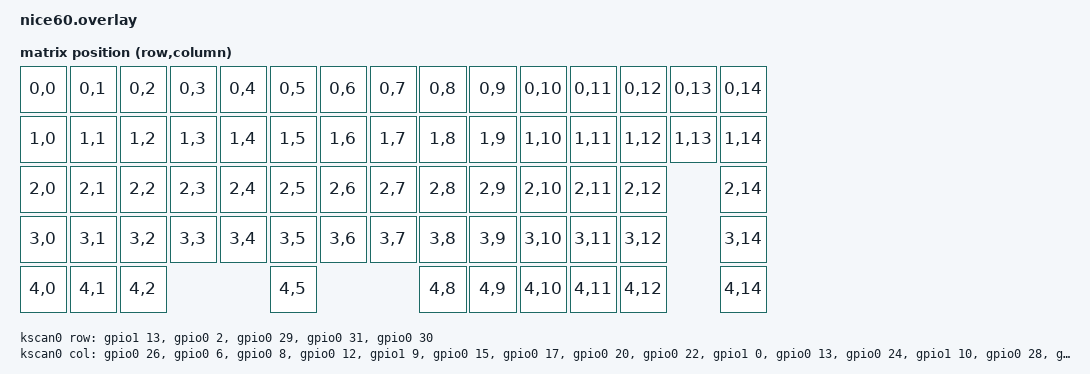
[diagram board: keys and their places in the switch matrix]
/*
 * toutou68 键盘硬件配置文件
 * 文件名: toutou68.overlay (需放置在 zmk-config/config/ 目录下)
 * 功能: 重定义键盘矩阵、RGB灯效、电池检测等硬件配置
 */

#include <dt-bindings/led/led.h>
#include <dt-bindings/gpio/gpio.h>
#include <layouts/common/60percent/ansi.dtsi>   /* 新增，引入60% ANSI布局定义 */
#include <dt-bindings/zmk/matrix_transform.h>   /* 新增，引入矩阵变换定义 */


/ {
    /* 系统选择节点 - 告知ZMK使用哪些硬件驱动 */
    chosen {
        /* 键盘矩阵扫描驱动 */
        zmk,kscan = &kscan0;
        /* RGB底灯驱动 */
        zmk,underglow = &led_strip;
        /* 电池电量检测驱动 */
        zmk,battery = &vbatt;                   /* <--- 电池电量检测 */ 
        zmk,ble-status-led = &led_ble_status;   /* <--- 新增 */
        zmk,physical-layout = &layout_60_ansi;  /* <--- 新增 键盘布局*/
        zephyr,flash = &flash0;                 /* 其他系统资源配置 */
        zmk,usb-name = "toutou!68";             /* USB设备名称 */
    };

/* <--- 新增key location */
 default_transform: keymap_transform_0 {
        compatible = "zmk,matrix-transform";
        columns = <15>;
        rows = <5>;
        map = <
        RC(0,0) RC(0,1) RC(0,2) RC(0,3) RC(0,4) RC(0,5) RC(0,6) RC(0,7) RC(0,8) RC(0,9)  RC(0,10) RC(0,11) RC(0,12) RC(0,13) RC(0,14)    
        RC(1,0) RC(1,1) RC(1,2) RC(1,3) RC(1,4) RC(1,5) RC(1,6) RC(1,7) RC(1,8) RC(1,9)  RC(1,10) RC(1,11) RC(1,12) RC(1,13) RC(1,14)   
        RC(2,0) RC(2,1) RC(2,2) RC(2,3) RC(2,4) RC(2,5) RC(2,6) RC(2,7) RC(2,8) RC(2,9)  RC(2,10) RC(2,11) RC(2,12)          RC(2,14) 
        RC(3,0) RC(3,1) RC(3,2) RC(3,3) RC(3,4) RC(3,5) RC(3,6) RC(3,7) RC(3,8) RC(3,9)  RC(3,10) RC(3,11) RC(3,12)          RC(3,14)
        RC(4,0) RC(4,1) RC(4,2)                 RC(4,5)                 RC(4,8) RC(4,9)  RC(4,10) RC(4,11) RC(4,12)          RC(4,14) 
        >;
    };



    /* 键盘矩阵扫描配置 - 5行 x 15列 矩阵 */
    kscan0: kscan {
        compatible = "zmk,kscan-gpio-matrix";
        label = "toutou68_KEYSCAN";

        wakeup-source;                                          /* wakeup source must be below */

        /* 二极管方向: 行到列 (row2col) 或 列到行 (col2row) 
         * 需根据PCB实际电路确定, 常用 col2row */
        diode-direction = "col2row";
        
        /* 行引脚定义 (5行)
         * 格式: <&gpio端口 引脚号 标志>
         * GPIO_ACTIVE_HIGH: 高电平有效
         * GPIO_PULL_DOWN: 内部下拉电阻
         */
        row-gpios
            = <&gpio1 13 (GPIO_ACTIVE_HIGH | GPIO_PULL_DOWN)>  /* 行0 - 引脚113 (P0.13) */
            , <&gpio0 2  (GPIO_ACTIVE_HIGH | GPIO_PULL_DOWN)>  /* 行1 - 引脚002 (P0.02) */
            , <&gpio0 29 (GPIO_ACTIVE_HIGH | GPIO_PULL_DOWN)>  /* 行2 - 引脚029 (P0.29) */
            , <&gpio0 31 (GPIO_ACTIVE_HIGH | GPIO_PULL_DOWN)>  /* 行3 - 引脚031 (P0.31) */
            , <&gpio0 30 (GPIO_ACTIVE_HIGH | GPIO_PULL_DOWN)>; /* 行4 - 引脚030 (P0.30) */

        /* 列引脚定义 (15列)
         * 格式: <&gpio端口 引脚号 标志>
         * GPIO_ACTIVE_HIGH: 高电平有效
         * (列通常不需要内部上拉/下拉)
         */
        col-gpios
            = <&gpio0 26 (GPIO_ACTIVE_HIGH)>  /* 列0  - 引脚026 (P0.26) */
            , <&gpio0 6  (GPIO_ACTIVE_HIGH)>  /* 列1  - 引脚006 (P0.06) */
            , <&gpio0 8  (GPIO_ACTIVE_HIGH)>  /* 列2  - 引脚008 (P0.08) */
            , <&gpio0 12 (GPIO_ACTIVE_HIGH)>  /* 列3  - 引脚012 (P0.12) */
            , <&gpio1 9  (GPIO_ACTIVE_HIGH)>  /* 列4  - 引脚109 (P1.09) */
            , <&gpio0 15 (GPIO_ACTIVE_HIGH)>  /* 列5  - 引脚015 (P0.15) */
            , <&gpio0 17 (GPIO_ACTIVE_HIGH)>  /* 列6  - 引脚017 (P0.17) */
            , <&gpio0 20 (GPIO_ACTIVE_HIGH)>  /* 列7  - 引脚020 (P0.20) */
            , <&gpio0 22 (GPIO_ACTIVE_HIGH)>  /* 列8  - 引脚022 (P0.22) */
            , <&gpio1 0 (GPIO_ACTIVE_HIGH)>   /* 列9  - 引脚010 (P0.10) */
            , <&gpio0 13 (GPIO_ACTIVE_HIGH)>  /* 列10 - 引脚013 (P0.13) */
            , <&gpio0 24 (GPIO_ACTIVE_HIGH)>  /* 列11 - 引脚024 (P0.24) */
            , <&gpio1 10 (GPIO_ACTIVE_HIGH)>  /* 列12 - 引脚110 (P1.10) */
            , <&gpio0 28 (GPIO_ACTIVE_HIGH)>  /* 列13 - 引脚028 (P0.28) */
            , <&gpio0 3  (GPIO_ACTIVE_HIGH)>; /* 列14 - 引脚003 (P0.03) */
    };

/* 新增：蓝牙状态指示灯 */
    leds {
        compatible = "gpio-leds";
        led_ble_status: led_ble_status {
            label = "Bluetooth Status LED";
            gpios = <&gpio1 11 GPIO_ACTIVE_LOW>;
        };
    };

    // Node name must match original "EXT_POWER" label to preserve user settings.
    EXT_POWER {
        compatible = "zmk,ext-power-generic";
        control-gpios = <&gpio0 5 GPIO_ACTIVE_LOW>;
    };

    /* 电池电量检测配置 - 使用ADC读取电池电压 */
    vbatt: vbatt {
        compatible = "zmk,battery-voltage-divider";
        label = "BATTERY";
        /* 电池分压电路配置
         * 需根据PCB上的实际电阻分压比设置
         * output-ohms: 分压器下端电阻阻值 (单位: 欧姆)
         * full-ohms: 分压器总电阻阻值 (上端+下端)
         * 示例: 若电阻为 1MΩ + 1MΩ, 则分压比为 1/2
         *       output-ohms = <1000000>;
         *       full-ohms = <2000000>;
         */
        output-ohms = <1000000>;
        full-ohms = <2000000>;
        /* ADC采样引脚 - 引脚004 (P0.04) */
        io-channels = <&adc 4>;
    };
};

&adc {
    status = "okay";
};

&gpiote {
    status = "okay";
};

&gpio0 {
    status = "okay";
};

&gpio1 {
    status = "okay";
};



/* 引脚控制配置 - 用于SPI/I2C等外设 */
&pinctrl {
    /* SPI3 默认状态引脚定义 (活跃状态) */
    spi3_default: spi3_default {
        group1 {
            /* MOSI引脚配置: 使用 P0.10 作为WS2812数据引脚 */
            psels = <NRF_PSEL(SPIM_MOSI, 0, 10)>;
        };
    };
    
    /* SPI3 睡眠状态引脚定义 (低功耗状态) */
    spi3_sleep: spi3_sleep {
        group1 {
            psels = <NRF_PSEL(SPIM_MOSI, 0, 10)>;
            /* 低功耗模式下使能 */
            low-power-enable;
        };
    };
};

/* SPI3 总线配置 - 用于驱动WS2812 RGB LED */
&spi3 {
    compatible = "nordic,nrf-spim";
    status = "okay";
    
    /* 关联引脚控制配置 */
    pinctrl-0 = <&spi3_default>;
    pinctrl-1 = <&spi3_sleep>;
    pinctrl-names = "default", "sleep";
    
    /* WS2812 LED灯带配置 */
    led_strip: ws2812@0 {
        compatible = "worldsemi,ws2812-spi";
        label = "WS2812_LED_STRIP";
        
        /* SPI寄存器地址 - 固定值 */
        reg = <0>;
        /* SPI时钟频率 - 4MHz (WS2812推荐值) */
        spi-max-frequency = <4000000>;
        
        /* LED数量 - 根据实际PCB上的灯珠数量修改 */
        chain-length = <68>;
        
        /* WS2812通信时序定义 */
        spi-one-frame = <0x70>;   /* 1码: 高电平占空比 ~70% */
        spi-zero-frame = <0x40>;  /* 0码: 高电平占空比 ~40% */
        
        /* 颜色通道映射 (WS2812标准顺序: GRB)
         * 若LED颜色显示异常, 可调整此顺序 */
        color-mapping = <LED_COLOR_ID_GREEN 
                         LED_COLOR_ID_RED 
                         LED_COLOR_ID_BLUE>;
    };
};

// flash0: 引用 SoC 内部 Flash 存储器节点（nRF52840 内置 1MB Flash）
// 下面通过 partitions 子节点定义 Flash 的布局，划分不同功能区域。
&flash0 {

    partitions {
        compatible = "fixed-partitions";    // 固定分区，地址和大小在编译时确定
        #address-cells = <1>;               // 地址用 32 位表示
        #size-cells = <1>;                  // 大小用 32 位表示

        // SoftDevice 分区：存储蓝牙协议栈（如 Nordic 的 SoftDevice 或 Zephyr 的 Controller）
        // 地址范围：0x00000000 ~ 0x00000FFF (4KB)
        sd_partition: partition@0 {
            reg = <0x00000000 0x00001000>;
        };

        // 应用程序代码分区：存放 ZMK 固件的主要代码
        // 地址范围：0x00001000 ~ 0x000D3FFF (约 844KB，具体取决于代码大小)
        code_partition: partition@1000 {
            reg = <0x00001000 0x000d3000>;
        };

        /*
         * 存储分区：用于 FCB (Flash Circular Buffer)、LittleFS 或 NVS (Non-Volatile Storage)
         * 存储键值对、配置参数、蓝牙配对信息等持久化数据。
         * 地址范围：0x000D4000 ~ 0x000F3FFF (128KB)
         */
        storage_partition: partition@d4000 {
            reg = <0x000d4000 0x00020000>;
        };

        // 引导加载程序分区：存储 MCUboot 或其他 bootloader
        // 地址范围：0x000F4000 ~ 0x000FFFFF (48KB)
        boot_partition: partition@f4000 {
            reg = <0x000f4000 0x0000c000>;
        };
    };
};

&layout_60_ansi {
    transform = <&default_transform>;
};
